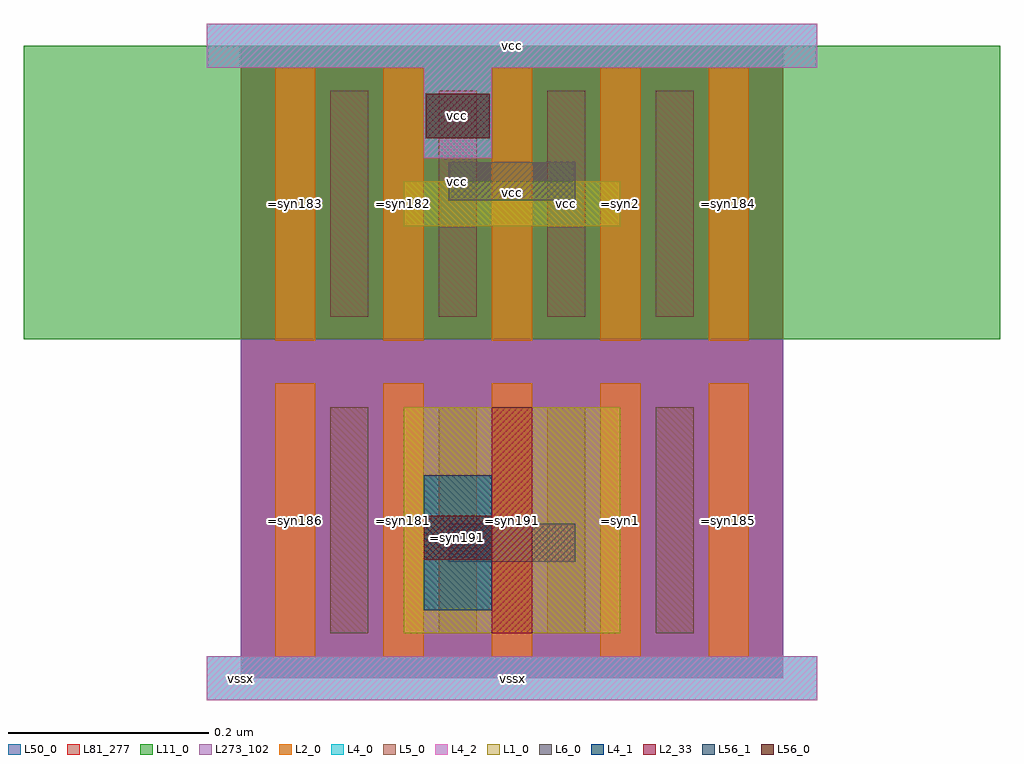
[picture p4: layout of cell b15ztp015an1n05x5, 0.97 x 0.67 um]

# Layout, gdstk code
import gdstk
lib = gdstk.Library(unit=1e-6, precision=5e-10)
def R(c, l, rs):  # rectangles x0, y0, x1, y1
    for r in rs: c.add(gdstk.rectangle(r[:2], r[2:], *l))
def A(c, l, x, y, w, h, nx, ny, dx, dy):  # array of equal rectangles
    R(c, l, [(x+i*dx, y+j*dy, x+i*dx+w, y+j*dy+h) for i in range(nx) for j in range(ny)])
def P(c, l, *ps):  # polygons
    for p in ps: c.add(gdstk.Polygon(p, *l))
L1_0 = (1, 0)
L2_0 = (2, 0)
L2_33 = (2, 33)
L4_0 = (4, 0)
L4_1 = (4, 1)
L4_2 = (4, 2)
L5_0 = (5, 0)
L6_0 = (6, 0)
L11_0 = (11, 0)
L50_0 = (50, 0)
L56_0 = (56, 0)
L56_1 = (56, 1)
L81_277 = (81, 277)
L273_102 = (273, 102)

b15ztp015an1n05x5 = lib.new_cell('b15ztp015an1n05x5')
R(b15ztp015an1n05x5, L1_0, [(0.162,0.045,0.378,0.27), (0.162,0.45,0.378,0.495)])
A(b15ztp015an1n05x5, L2_0, 0.034, 0.021, 0.04, 0.273, 5, 2, 0.108, 0.315)
R(b15ztp015an1n05x5, L2_33, [(0.25,0.045,0.29,0.27)])
R(b15ztp015an1n05x5, L4_0, [(-0.034,-0.022,0.574,0.022), (0.182,0.068,0.25,0.202)])
P(b15ztp015an1n05x5, L4_0, [(0.574,0.608),(0.25,0.608),(0.25,0.518),(0.182,0.518),(0.182,0.608),(-0.034,0.608),(-0.034,0.652),(0.574,0.652)])
R(b15ztp015an1n05x5, L4_1, [(0.182,0.068,0.25,0.202)])
R(b15ztp015an1n05x5, L4_2, [(-0.034,-0.022,0.574,0.022)])
P(b15ztp015an1n05x5, L4_2, [(0.574,0.608),(0.25,0.608),(0.25,0.518),(0.182,0.518),(0.182,0.608),(-0.034,0.608),(-0.034,0.652),(0.574,0.652)])
A(b15ztp015an1n05x5, L5_0, 0.089, 0.045, 0.038, 0.225, 4, 2, 0.108, 0.315)
R(b15ztp015an1n05x5, L6_0, [(0.207,0.116,0.333,0.154), (0.207,0.476,0.333,0.514)])
R(b15ztp015an1n05x5, L11_0, [(-0.216,0.3375,0.756,0.63)])
R(b15ztp015an1n05x5, L50_0, [(0,0,0.54,0.63)])
R(b15ztp015an1n05x5, L56_0, [(0.182,0.118,0.25,0.162), (0.184,0.538,0.248,0.582)])
R(b15ztp015an1n05x5, L56_1, [(0.182,0.118,0.25,0.162), (0.184,0.538,0.248,0.582)])
R(b15ztp015an1n05x5, L81_277, [(0,0,0.54,0.63)])
R(b15ztp015an1n05x5, L273_102, [(0,0,0.54,0.3375)])
b15ztp015an1n05x5.add(gdstk.Label('vssx', (0,0), layer=81, texttype=6))
b15ztp015an1n05x5.add(gdstk.Label('vcc', (0.216,0.56), layer=56, texttype=1))
b15ztp015an1n05x5.add(gdstk.Label('vcc', (0.27,0.484), layer=11, texttype=0))
b15ztp015an1n05x5.add(gdstk.Label('=syn191', (0.216,0.14), layer=4, texttype=0))
b15ztp015an1n05x5.add(gdstk.Label('vcc', (0.216,0.56), layer=4, texttype=0))
b15ztp015an1n05x5.add(gdstk.Label('vssx', (0.27,0), layer=4, texttype=0))
b15ztp015an1n05x5.add(gdstk.Label('vcc', (0.27,0.63), layer=4, texttype=2))
b15ztp015an1n05x5.add(gdstk.Label('vssx', (0.27,0), layer=4, texttype=2))
b15ztp015an1n05x5.add(gdstk.Label('=syn183', (0.054,0.4725), layer=2, texttype=0))
b15ztp015an1n05x5.add(gdstk.Label('=syn186', (0.054,0.1575), layer=2, texttype=0))
b15ztp015an1n05x5.add(gdstk.Label('=syn182', (0.162,0.4725), layer=2, texttype=0))
b15ztp015an1n05x5.add(gdstk.Label('=syn181', (0.162,0.1575), layer=2, texttype=0))
b15ztp015an1n05x5.add(gdstk.Label('vcc', (0.27,0.4725), layer=2, texttype=0))
b15ztp015an1n05x5.add(gdstk.Label('=syn191', (0.27,0.1575), layer=2, texttype=0))
b15ztp015an1n05x5.add(gdstk.Label('=syn2', (0.378,0.4725), layer=2, texttype=0))
b15ztp015an1n05x5.add(gdstk.Label('=syn1', (0.378,0.1575), layer=2, texttype=0))
b15ztp015an1n05x5.add(gdstk.Label('=syn184', (0.486,0.4725), layer=2, texttype=0))
b15ztp015an1n05x5.add(gdstk.Label('=syn185', (0.486,0.1575), layer=2, texttype=0))
b15ztp015an1n05x5.add(gdstk.Label('=syn191', (0.324,0.1575), layer=1, texttype=0))
b15ztp015an1n05x5.add(gdstk.Label('vcc', (0.216,0.495), layer=6, texttype=0))
b15ztp015an1n05x5.add(gdstk.Label('=syn191', (0.216,0.135), layer=6, texttype=0))
b15ztp015an1n05x5.add(gdstk.Label('=syn187', (0.108,0.4725), layer=5, texttype=0))
b15ztp015an1n05x5.add(gdstk.Label('=syn189', (0.108,0.1575), layer=5, texttype=0))
b15ztp015an1n05x5.add(gdstk.Label('vcc', (0.216,0.495), layer=5, texttype=0))
b15ztp015an1n05x5.add(gdstk.Label('=syn191', (0.216,0.135), layer=5, texttype=0))
b15ztp015an1n05x5.add(gdstk.Label('vcc', (0.324,0.4725), layer=5, texttype=0))
b15ztp015an1n05x5.add(gdstk.Label('=syn191', (0.324,0.1575), layer=5, texttype=0))
b15ztp015an1n05x5.add(gdstk.Label('=syn188', (0.432,0.4725), layer=5, texttype=0))
b15ztp015an1n05x5.add(gdstk.Label('=syn190', (0.432,0.1575), layer=5, texttype=0))

lib.write_gds('b15ztp015an1n05x5.gds')
